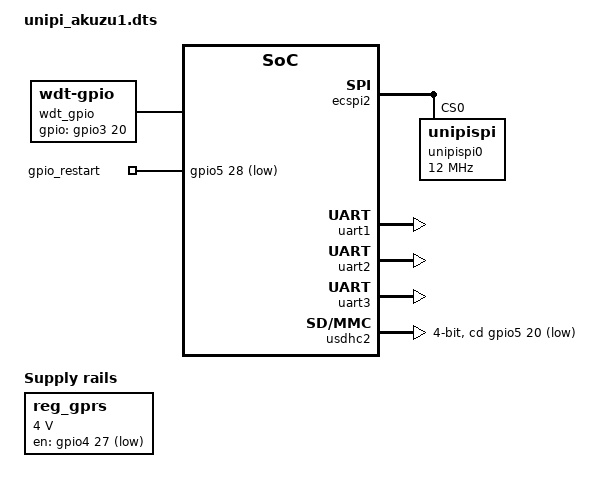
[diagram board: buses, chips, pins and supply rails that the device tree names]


/dts-v1/;
/plugin/;
/ {
	compatible = "unipi,zulu";

	fragment@0 {
		target = <&ecspi2>;
		__overlay__ {
			status = "okay";
			#address-cells = <1>;
			#size-cells = <0>;unipispi0: unipispi@0 {
				compatible = "unipispi";
				reg = <0>;
				spi-max-frequency = <12000000>;
				status = "okay";
				modbus-address = <1>;
				probe-always-succeeds = <0>;
				allow-protocol-v2 = <1>;
				#address-cells = <1>;
				#size-cells = <0>;
				iogroup1: iogroup1 {
					reg = <1>;
					compatible = "unipi,unipi-mfd", "iogroup";
			fw_variant = <0x2D10>;
			fw_name = "OEM-AKUSOLAR-1";
			board_name = "OEM-AKUSOLAR-1";
			cycle_counter = <1023>;
			//master_watchdog_enable = <6>;

			di {
				compatible = "unipi,gpio-di";
				gpio-controller;
				#gpio-cells = <2>;
				gpio-line-names = "DI1", "DI2", "DI3", "DI4";
				ngpio = <4>;
				value-reg = <0>;
				debounce-reg = <1010>;
				counter-reg = <16>;
			};
			do {
				compatible = "unipi,gpio-do";
				ngpio = <4>;
				value-coil = <0>;
				gpio-controller;
				#gpio-cells = <2>;
				gpio-line-names = "DO1", "DO2", "DO3", "DO4";
			};
			ro {
				compatible = "unipi,gpio-ro";
				ngpio = <4>;
				value-coil = <4>;
				gpio-controller;
				#gpio-cells = <2>;
				gpio-line-names = "RO1", "RO2", "RO3", "RO4";
			};
			ao_chip {
				compatible = "unipi,ao";
				io-count = <2>;
				io-value-reg = <10>;
			};
			led {
				compatible = "unipi,leds";
				coil-range = <12 6>;
				label-prefix = "unipi:green:uled-x";
			};
			sysleds0: sysled {
				compatible = "unipi,leds";
				coil-range = <18 9>;
				#address-cells = <1>;
				#size-cells = <0>;
				label-prefix = "unipi:green:sysled-x";
			};
				};
			};
		
		};
	};

	fragment@1 {
		target = <&usbotg1>;
		__overlay__ {
			#address-cells = <1>;
			#size-cells = <0>;
			usbslot1@1 {
				reg = <1>;
			};
		};
	};

	
	fragment@10 {
		target = <&uart1>;
		__overlay__ {
			status = "okay";
			linux,rs485-enabled-at-boot-time;
		};
	};
	fragment@11 {
		target = <&uart2>;
		__overlay__ {
			status = "okay";
			linux,rs485-enabled-at-boot-time;
		};
	};
	fragment@12 {
		target = <&uart3>;
		__overlay__ {
			status = "okay";
			pinctrl-names = "default";
			pinctrl-0 = <&pinctrl_uart3>;
			rts-gpios = <>;  /* cannot delete property, move rts to free pin */
		};
	};

	#include "imx8mm-pinfunc.h"
	fragment@13 {
		target = <&iomuxc>;
		__overlay__ {
			reg_gprs_pins: reg_gprs_pins {
				fsl,pins = <MX8MM_IOMUXC_SAI2_MCLK_GPIO4_IO27  0x040>;
			};
			wd_pins: wd_pins {
				fsl,pins = <MX8MM_IOMUXC_SAI5_RXC_GPIO3_IO20  0x040>;
			};
			reset_pins: reset_pins {
				fsl,pins = <MX8MM_IOMUXC_UART4_RXD_GPIO5_IO28 0x040>;
			};
			sdcd_pins: sdcd_pins {
				fsl,pins = <MX8MM_IOMUXC_I2C4_SCL_GPIO5_IO20    0x40>;
			};
			pinctrl_usdhc2: usdhc2grp {
				fsl,pins = <
				MX8MM_IOMUXC_SD2_CLK_USDHC2_CLK		0x190
				MX8MM_IOMUXC_SD2_CMD_USDHC2_CMD		0x1d0
				MX8MM_IOMUXC_SD2_DATA0_USDHC2_DATA0	0x1d0
				MX8MM_IOMUXC_SD2_DATA1_USDHC2_DATA1	0x1d0
				MX8MM_IOMUXC_SD2_DATA2_USDHC2_DATA2	0x1d0
				MX8MM_IOMUXC_SD2_DATA3_USDHC2_DATA3	0x1d0
				MX8MM_IOMUXC_GPIO1_IO04_USDHC2_VSELECT	0x1d0
				>;
			};

			pinctrl_usdhc2_100mhz: usdhc2grp100mhz {
				fsl,pins = <
				MX8MM_IOMUXC_SD2_CLK_USDHC2_CLK		0x194
				MX8MM_IOMUXC_SD2_CMD_USDHC2_CMD		0x1d4
				MX8MM_IOMUXC_SD2_DATA0_USDHC2_DATA0	0x1d4
				MX8MM_IOMUXC_SD2_DATA1_USDHC2_DATA1	0x1d4
				MX8MM_IOMUXC_SD2_DATA2_USDHC2_DATA2	0x1d4
				MX8MM_IOMUXC_SD2_DATA3_USDHC2_DATA3	0x1d4
				MX8MM_IOMUXC_GPIO1_IO04_USDHC2_VSELECT	0x1d0
				>;
			};

			pinctrl_usdhc2_200mhz: usdhc2grp200mhz {
				fsl,pins = <
				MX8MM_IOMUXC_SD2_CLK_USDHC2_CLK		0x196
				MX8MM_IOMUXC_SD2_CMD_USDHC2_CMD		0x1d6
				MX8MM_IOMUXC_SD2_DATA0_USDHC2_DATA0	0x1d6
				MX8MM_IOMUXC_SD2_DATA1_USDHC2_DATA1	0x1d6
				MX8MM_IOMUXC_SD2_DATA2_USDHC2_DATA2	0x1d6
				MX8MM_IOMUXC_SD2_DATA3_USDHC2_DATA3	0x1d6
				MX8MM_IOMUXC_GPIO1_IO04_USDHC2_VSELECT	0x1d0
				>;
			};
		};
	};

	fragment@14 {
		target-path = "/";
		__overlay__ {
			reg_gprs: regulator-gprs {
				pinctrl-names = "default";
				pinctrl-0 = <&reg_gprs_pins>;
				compatible = "regulator-fixed";
				regulator-name = "vdd_gprs";
				gpio = <&gpio4 27 1>;
				//enable-active-low;
				regulator-min-microvolt = <4000000>;
				regulator-max-microvolt = <4000000>;
			};
			unipi-gprs {
				compatible = "unipi-consumer";
				regulator-name = "gprs-consumer";
				regulator-boot-on;
				regulator-supplies = "vdd_gprs";
			};
			wdt_gpio: wdt-gpio {
				compatible = "linux,wdt-gpio";
				//always-running;
				hw_margin_ms = <4000>;
				hw_algo = "level";
				pinctrl-names = "default";
				pinctrl-0 = <&wd_pins>;
				gpios = <&gpio3 20 0>;
				status = "okay";
			};
			gpio_restart: gpio-restart {
				compatible = "gpio-restart";
				open-source;
				gpios = <&gpio5 28 7>; /* GPIO_ACTIVE_LOW|GPIO_SINGLE_ENDED|GPIO_LINE_OPEN_DRAIN*/
				priority = <255>; /* <128> or <255> */
				active-delay = <100>;
				inactive-delay = <100>;
				wait-delay = <3000>;
				pinctrl-names = "default";
				pinctrl-0 = <&reset_pins>;
				status = "okay";
			};
		};
	};

	fragment@15 {
		target = <&usdhc2>;
		__overlay__ {
			pinctrl-names = "default", "state_100mhz", "state_200mhz";
			pinctrl-0 = <&pinctrl_usdhc2>, <&sdcd_pins>;
			pinctrl-1 = <&pinctrl_usdhc2_100mhz>;
			pinctrl-2 = <&pinctrl_usdhc2_200mhz>;
			cd-gpios = <&gpio5 20 1>;
			bus-width = <4>;
			voltage-ranges = <1800 1800 3300 3300>;
			sdhci,auto-cmd12;
			//vmmc-supply = <&reg_usdhc2_vmmc>;
			status = "okay";
		};
	};

};








&sysleds0 {
	rs485-1-txled@0 {
		reg = <0>;
		linux,default-trigger = "ttymxc0-tx";
	};
	rs485-1-rxled@1 {
		reg = <1>;
		linux,default-trigger = "ttymxc0-rx";
	};
	rs485-2-txled@2 {
		reg = <2>;
		linux,default-trigger = "ttymxc1-tx";
	};
	rs485-2-rxled@3 {
		reg = <3>;
		linux,default-trigger = "ttymxc1-rx";
	};
};
